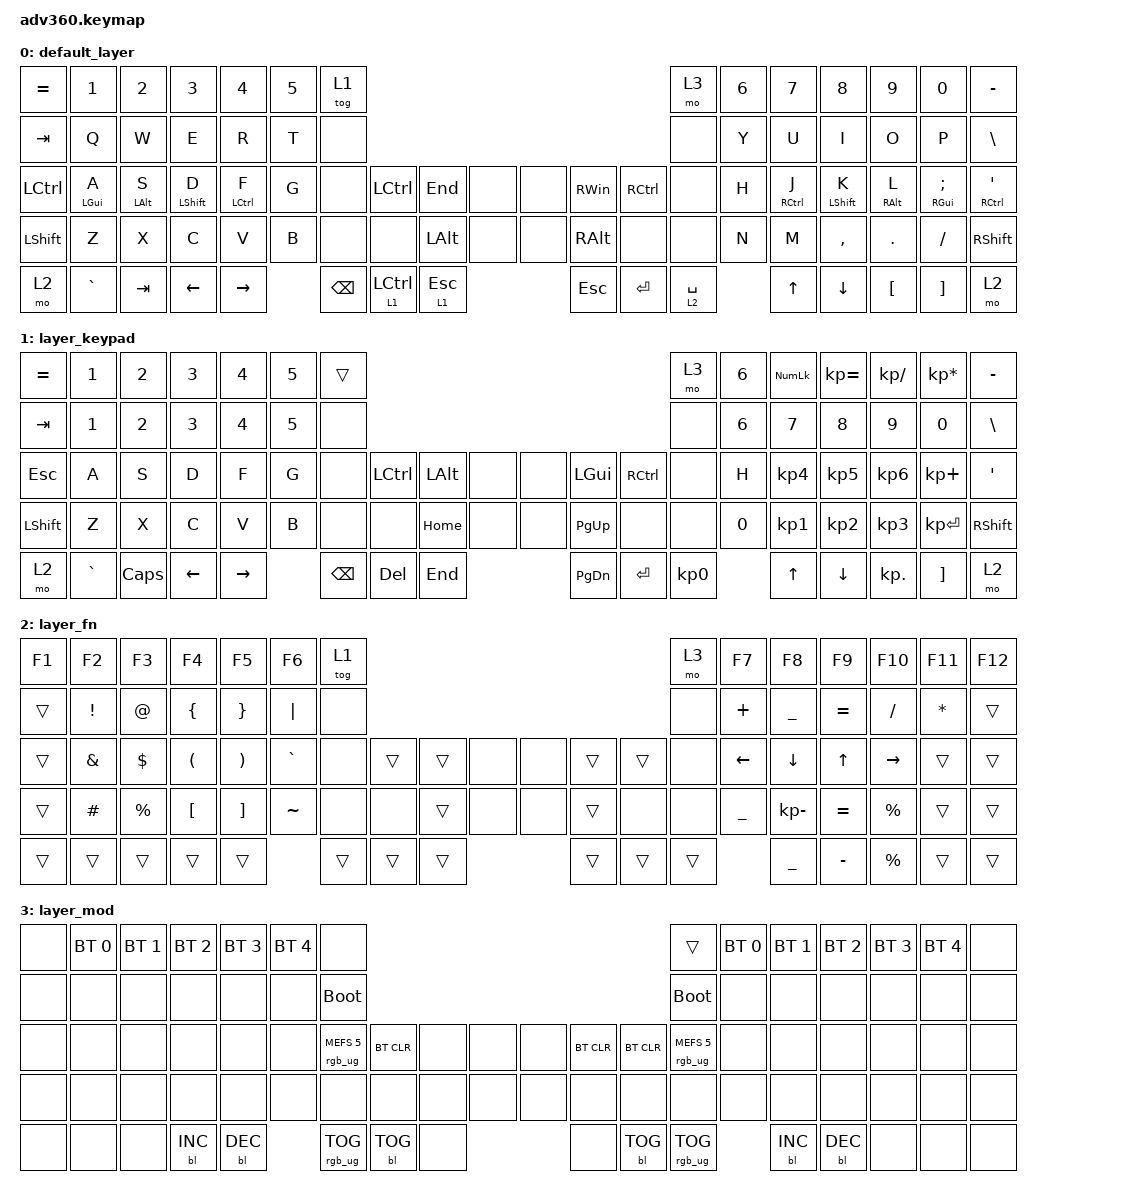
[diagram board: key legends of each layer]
/*
 * Copyright (c) 2020 The ZMK Contributors
 *
 * SPDX-License-Identifier: MIT
 */
/* THIS FILE WAS GENERATED!
 *
 * This file was generated automatically. You may or may not want to
 * edit it directly.
 */

#include <behaviors.dtsi>
#include <dt-bindings/zmk/backlight.h>
#include <dt-bindings/zmk/bt.h>
#include <dt-bindings/zmk/keys.h>
#include <dt-bindings/zmk/rgb.h>

/ {
    behaviors {
        #include "macros.dtsi"

        hm: homerow_mods {
            compatible = "zmk,behavior-hold-tap";
            label = "HOMEROW_MODS";
            #binding-cells = <2>;
            tapping-term-ms = <200>;
            quick_tap_ms = <175>;
            flavor = "tap-preferred";
            bindings = <&kp>, <&kp>;
        };
    };

    keymap {
        compatible = "zmk,keymap";

        default_layer {
            bindings = <
&kp EQUAL  &kp N1      &kp N2      &kp N3        &kp N4       &kp N5  &tog 1                                                                                 &mo 3        &kp N6  &kp N7       &kp N8        &kp N9      &kp N0         &kp MINUS
&kp TAB    &kp Q       &kp W       &kp E         &kp R        &kp T   &none                                                                                  &none        &kp Y   &kp U        &kp I         &kp O       &kp P          &kp BSLH
&kp LCTRL  &mt LGUI A  &mt LALT S  &mt LSHIFT D  &mt LCTRL F  &kp G   &none          &kp LEFT_CONTROL  &kp END       &none  &none  &kp RIGHT_WIN  &kp RCTRL  &none        &kp H   &mt RCTRL J  &mt LSHIFT K  &mt RALT L  &mt RGUI SEMI  &mt RCTRL SINGLE_QUOTE
&kp LSHFT  &kp Z       &kp X       &kp C         &kp V        &kp B   &none          &none             &kp LEFT_ALT  &none  &none  &kp RIGHT_ALT  &none      &none        &kp N   &kp M        &kp COMMA     &kp DOT     &kp FSLH       &kp RSHFT
&mo 2      &kp GRAVE   &kp TAB     &kp LEFT      &kp RIGHT            &kp BACKSPACE  &lt 1 LCTRL       &lt 1 ESC                   &kp ESC        &kp ENTER  &lt 2 SPACE          &kp UP       &kp DOWN      &kp LBKT    &kp RBKT       &mo 2
            >;
        };

        layer_keypad {
            bindings = <
&kp EQUAL  &kp N1     &kp N2    &kp N3    &kp N4     &kp N5  &trans                                                             &mo 3      &kp N6        &kp KP_NUM  &kp KP_EQUAL  &kp KP_DIVIDE  &kp KP_MULTIPLY  &kp MINUS
&kp TAB    &kp N1     &kp N2    &kp N3    &kp N4     &kp N5  &none                                                              &none      &kp N6        &kp N7      &kp N8        &kp N9         &kp N0           &kp BSLH
&kp ESC    &kp A      &kp S     &kp D     &kp F      &kp G   &none     &kp LCTRL  &kp LALT  &none  &none  &kp LGUI   &kp RCTRL  &none      &kp H         &kp KP_N4   &kp KP_N5     &kp KP_N6      &kp KP_PLUS      &kp SQT
&kp LSHFT  &kp Z      &kp X     &kp C     &kp V      &kp B   &none     &none      &kp HOME  &none  &none  &kp PG_UP  &none      &none      &kp NUMBER_0  &kp KP_N1   &kp KP_N2     &kp KP_N3      &kp KP_ENTER     &kp RSHFT
&mo 2      &kp GRAVE  &kp CAPS  &kp LEFT  &kp RIGHT          &kp BSPC  &kp DEL    &kp END                 &kp PG_DN  &kp ENTER  &kp KP_N0                &kp UP      &kp DOWN      &kp KP_DOT     &kp RBKT         &mo 2
            >;
        };

        layer_fn {
            bindings = <
&kp F1  &kp F2           &kp F3       &kp F4                &kp F5                 &kp F6     &tog 1                                                &mo 3   &kp F7          &kp F8          &kp F9        &kp F10          &kp F11       &kp F12
&trans  &kp EXCLAMATION  &kp AT_SIGN  &kp LEFT_BRACE        &kp RIGHT_BRACE        &kp PIPE   &none                                                 &none   &kp PLUS        &kp UNDERSCORE  &kp EQUAL     &kp SLASH        &kp ASTERISK  &trans
&trans  &kp AMPERSAND    &kp DOLLAR   &kp LEFT_PARENTHESIS  &kp RIGHT_PARENTHESIS  &kp GRAVE  &none   &trans  &trans  &none  &none  &trans  &trans  &none   &kp LEFT_ARROW  &kp DOWN_ARROW  &kp UP_ARROW  &kp RIGHT_ARROW  &trans        &trans
&trans  &kp HASH         &kp PERCENT  &kp LEFT_BRACKET      &kp RIGHT_BRACKET      &kp TILDE  &none   &none   &trans  &none  &none  &trans  &none   &none   &kp UNDERSCORE  &kp KP_MINUS    &kp EQUAL     &kp PERCENT      &trans        &trans
&trans  &trans           &trans       &trans                &trans                            &trans  &trans  &trans                &trans  &trans  &trans                  &kp UNDERSCORE  &kp MINUS     &kp PERCENT      &trans        &trans
            >;
        };

        layer_mod {
            bindings = <
&none  &bt BT_SEL 0  &bt BT_SEL 1  &bt BT_SEL 2  &bt BT_SEL 3  &bt BT_SEL 4  &none                                                                            &trans                  &bt BT_SEL 0  &bt BT_SEL 1  &bt BT_SEL 2  &bt BT_SEL 3  &bt BT_SEL 4  &none
&none  &none         &none         &none         &none         &none         &bootloader                                                                      &bootloader             &none         &none         &none         &none         &none         &none
&none  &none         &none         &none         &none         &none         &rgb_ug RGB_MEFS_CMD 5  &bt BT_CLR  &none  &none  &none  &bt BT_CLR  &bt BT_CLR  &rgb_ug RGB_MEFS_CMD 5  &none         &none         &none         &none         &none         &none
&none  &none         &none         &none         &none         &none         &none                   &none       &none  &none  &none  &none       &none       &none                   &none         &none         &none         &none         &none         &none
&none  &none         &none         &bl BL_INC    &bl BL_DEC                  &rgb_ug RGB_TOG         &bl BL_TOG  &none                &none       &bl BL_TOG  &rgb_ug RGB_TOG                       &bl BL_INC    &bl BL_DEC    &none         &none         &none
            >;
        };
    };
};
